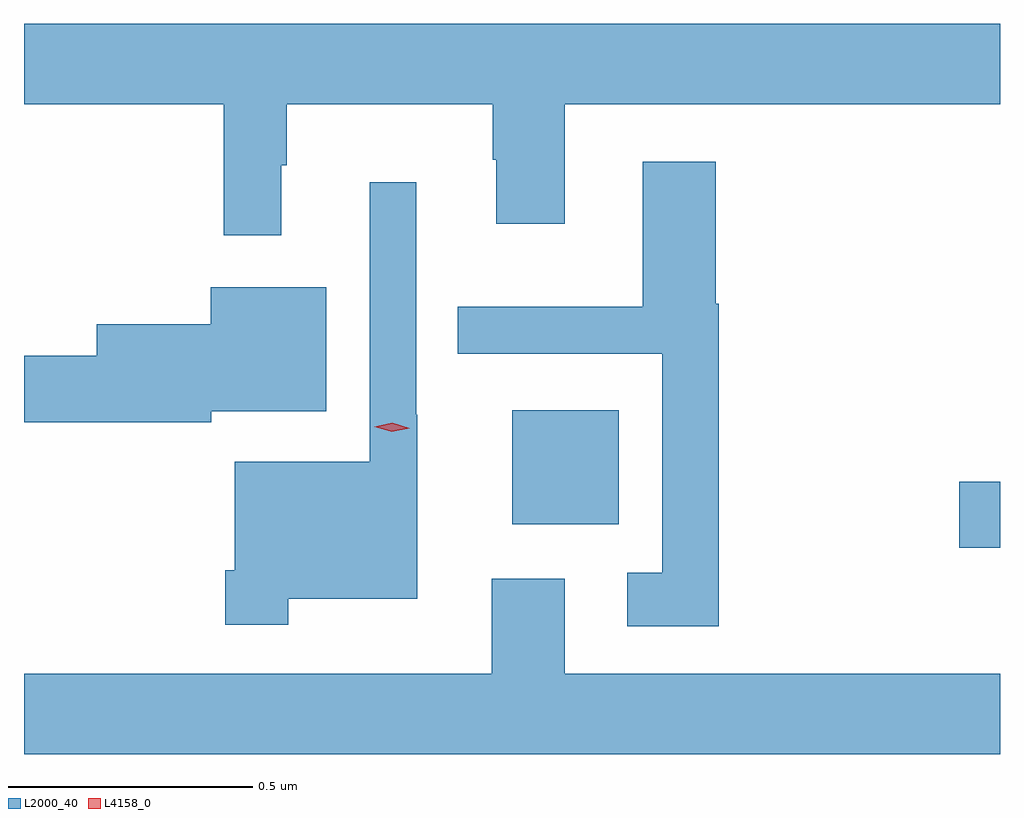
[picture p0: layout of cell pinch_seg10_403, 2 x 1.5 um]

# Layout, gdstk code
import gdstk
lib = gdstk.Library(unit=1e-6, precision=1e-09)
def R(c, l, rs):  # rectangles x0, y0, x1, y1
    for r in rs: c.add(gdstk.rectangle(r[:2], r[2:], *l))
def P(c, l, *ps):  # polygons
    for p in ps: c.add(gdstk.Polygon(p, *l))
L2000_40 = (2000, 40)
L4158_0 = (4158, 0)

pinch_seg10_403 = lib.new_cell('pinch_seg10_403')
R(pinch_seg10_403, L2000_40, [(542.958,1282.091,543.041,1282.226), (542.042,1282.139,542.26,1282.372)])
P(pinch_seg10_403, L2000_40, [(541.568,1282.874),(541.579,1282.874),(541.579,1283),(542.002,1283),(542.002,1282.886),(542.009,1282.886),(542.009,1282.755),(542.149,1282.755),(542.149,1283),(543.041,1283),(543.041,1283.164),(541.041,1283.164),(541.041,1283),(541.45,1283),(541.45,1282.731),(541.568,1282.731)],
  [(542.465,1282.591),(542.459,1282.591),(542.459,1282.882),(542.309,1282.882),(542.309,1282.585),(541.93,1282.585),(541.93,1282.488),(542.349,1282.488),(542.349,1282.039),(542.277,1282.039),(542.277,1281.93),(542.465,1281.93)],
  [(541.582,1281.986),(541.847,1281.986),(541.847,1282.363),(541.845,1282.363),(541.845,1282.84),(541.749,1282.84),(541.749,1282.267),(541.473,1282.267),(541.473,1282.045),(541.453,1282.045),(541.453,1281.933),(541.582,1281.933)],
  [(541.425,1282.37),(541.66,1282.37),(541.66,1282.624),(541.424,1282.624),(541.424,1282.549),(541.19,1282.549),(541.19,1282.484),(541.041,1282.484),(541.041,1282.348),(541.425,1282.348)],
  [(543.041,1281.832),(542.149,1281.832),(542.149,1282.027),(542,1282.027),(542,1281.832),(541.041,1281.832),(541.041,1281.668),(543.041,1281.668)])
P(pinch_seg10_403, L4158_0, [(541.795,1282.328),(541.759,1282.339),(541.759,1282.339),(541.759,1282.339),(541.796,1282.347),(541.831,1282.336),(541.831,1282.336),(541.831,1282.336)])

lib.write_gds('pinch_seg10_403.gds')
